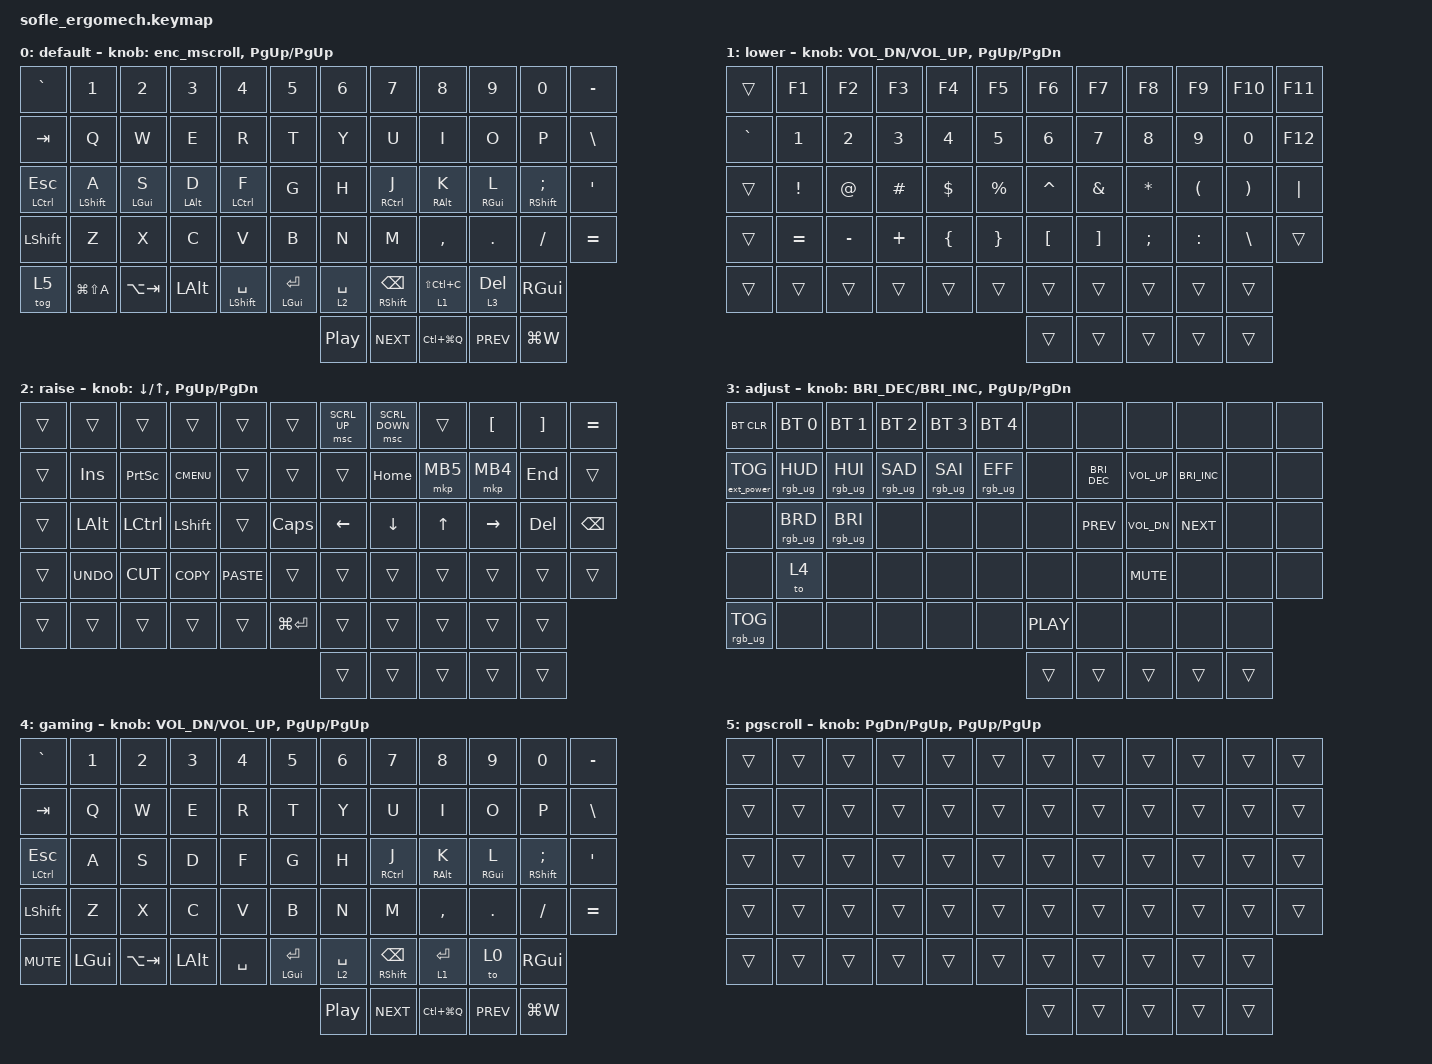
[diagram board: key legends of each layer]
/*
 * Copyright (c) 2020 The ZMK Contributors
 *
 * SPDX-License-Identifier: MIT
 */

#define ZMK_POINTING_DEFAULT_SCRL_VAL 60

#include <dt-bindings/zmk/mouse.h>
#include <behaviors.dtsi>
#include <dt-bindings/zmk/bt.h>
#include <dt-bindings/zmk/ext_power.h>
#include <dt-bindings/zmk/keys.h>
#include <dt-bindings/zmk/pointing.h>
#include <dt-bindings/zmk/rgb.h>

#define BASE 0
#define LOWER 1
#define RAISE 2
#define ADJUST 3

/ {
    behaviors {
        lh_pht: left_positional_hold_tap {
            compatible = "zmk,behavior-hold-tap";
            #binding-cells = <2>;
            flavor = "balanced";
            tapping-term-ms = <400>;                        // <---[[produces tap if held longer than tapping-term-ms]]
            quick-tap-ms = <200>;
            bindings = <&kp>, <&kp>;

            hold-trigger-key-positions = <6 7 8 9 10 11 18 19 20 21 22 23 34 35 46 47 30 31 32 33 42 43 44 45 55 56 57 58 54 55>;    // <---[[right-hand keys]]
            hold-trigger-on-release;
            require-prior-idle-ms = <150>;
        };
    };

    behaviors {
        rh_pht: right_positional_hold_tap {
            compatible = "zmk,behavior-hold-tap";
            #binding-cells = <2>;
            flavor = "balanced";
            tapping-term-ms = <400>;                        // <---[[produces tap if held longer than tapping-term-ms]]
            quick-tap-ms = <200>;
            bindings = <&kp>, <&kp>;

            hold-trigger-key-positions = <0 1 2 3 4 0 1 2 3 4 5 12 13 14 15 16 17 24 25 26 27 28 29 36 37 38 39 40 41 48 49 50 51 52 53>;    // <---[[right-hand keys]]
            hold-trigger-on-release;
            require-prior-idle-ms = <150>;
        };
    };

    behaviors {
        enc_mscroll: encoder_mouse_scroll {
            compatible = "zmk,behavior-sensor-rotate";
            #sensor-binding-cells = <0>;
            tap-ms = <50>;
            bindings = <&msc SCRL_DOWN>, <&msc SCRL_UP>;
        };
    };

    // Activate ADJUST layer by pressing raise and lower

    conditional_layers { compatible = "zmk,conditional-layers"; };

    keymap {
        compatible = "zmk,keymap";

        default_layer {
            label = "default";

            // ------------------------------------------------------------------------------------------------------------
            // |   `   |  1  |  2  |  3   |  4   |  5   |                   |  6   |  7    |  8    |  9   |   0   |       |
            // |  ESC  |  Q  |  W  |  E   |  R   |  T   |                   |  Y   |  U    |  I    |  O   |   P   | BKSPC |
            // |  TAB  |  A  |  S  |  D   |  F   |  G   |                   |  H   |  J    |  K    |  L   |   ;   |   '   |
            // | SHIFT |  Z  |  X  |  C   |  V   |  B   |  MUTE  |  |       |  N   |  M    |  ,    |  .   |   /   | SHIFT |
            //               | GUI | ALT  | CTRL | LOWER|  ENTER |  | SPACE | RAISE| CTRL  | ALT   | GUI  |

            bindings = <
&kp GRAVE      &kp N1                &kp N2              &kp N3              &kp N4                &kp N5          &kp N6            &kp N7                     &kp N8               &kp N9               &kp N0                         &kp MINUS
&kp TAB        &kp Q                 &kp W               &kp E               &kp R                 &kp T           &kp Y             &kp U                      &kp I                &kp O                &kp P                          &kp BACKSLASH
&mt LCTRL ESC  &lh_pht LEFT_SHIFT A  &lh_pht LEFT_GUI S  &lh_pht LEFT_ALT D  &lh_pht LCTRL F       &kp G           &kp H             &rh_pht RCTRL J            &rh_pht RIGHT_ALT K  &rh_pht RIGHT_GUI L  &rh_pht RIGHT_SHIFT SEMICOLON  &kp SQT
&kp LSHFT      &kp Z                 &kp X               &kp C               &kp V                 &kp B           &kp N             &kp M                      &kp COMMA            &kp DOT              &kp FSLH                       &kp EQUAL
&tog 5         &kp LG(LS(A))         &kp LA(TAB)         &kp LEFT_ALT        &mt LEFT_SHIFT SPACE  &mt LGUI ENTER  &lt 2 SPACE       &mt RIGHT_SHIFT BACKSPACE  &lt 1 LS(LC(C))      &lt 3 DELETE         &kp RGUI
                                                                                                                   &kp C_PLAY_PAUSE  &kp C_NEXT                 &kp LC(LG(Q))        &kp C_PREV           &kp LG(W)
            >;

            sensor-bindings =
                <&enc_mscroll>,
                <&inc_dec_kp PG_UP PG_UP>;
        };

        lower_layer {
            label = "lower";

            // TODO: Some binds are waiting for shifted keycode support.
            // ------------------------------------------------------------------------------------------------------------
            // |       |  F1 |  F2 |  F3  |  F4  |  F5  |                   |  F6  |  F7   |  F8   |  F9  |  F10  |  F11  |
            // |   `   |  1  |  2  |  3   |  4   |  5   |                   |  6   |  7    |  8    |  9   |   0   |  F12  |
            // |       |  !  |  @  |  #   |  $   |  %   |                   |  ^   |  &    |  *    |  (   |   )   |   |   |
            // |       |  =  |  -  |  +   |  {   |  }   |        |  |       |  [   |  ]    |  ;    |  :   |   \   |       |
            //               |     |      |      |      |        |  |       |      |       |       |      |

            bindings = <
&trans          &kp F1     &kp F2     &kp F3    &kp F4    &kp F5     &kp F6     &kp F7    &kp F8     &kp F9     &kp F10   &kp F11
&kp GRAVE       &kp N1     &kp N2     &kp N3    &kp N4    &kp N5     &kp N6     &kp N7    &kp N8     &kp N9     &kp N0    &kp F12
&trans          &kp EXCL   &kp AT     &kp HASH  &kp DLLR  &kp PRCNT  &kp CARET  &kp AMPS  &kp ASTRK  &kp LPAR   &kp RPAR  &kp PIPE
&trans          &kp EQUAL  &kp MINUS  &kp PLUS  &kp LBRC  &kp RBRC   &kp LBKT   &kp RBKT  &kp SEMI   &kp COLON  &kp BSLH  &trans
&trans          &trans     &trans     &trans    &trans    &trans     &trans     &trans    &trans     &trans     &trans
                                                                     &trans     &trans    &trans     &trans     &trans
            >;

            sensor-bindings = <&inc_dec_kp C_VOL_DN C_VOL_UP>, <&inc_dec_kp PG_UP PG_DN>;
        };

        raise_layer {
            label = "raise";

            // ------------------------------------------------------------------------------------------------------------
            // | BTCLR | BT1  | BT2  |  BT3  |  BT4  |  BT5 |                |      |      |       |      |       |       |
            // |       | INS  | PSCR | GUI   |       |      |                | PGUP |      |   ^   |      |       |       |
            // |       | ALT  | CTRL | SHIFT |       | CAPS |                | PGDN |   <- |   v   |  ->  |  DEL  | BKSPC |
            // |       | UNDO | CUT  | COPY  | PASTE |      |      |  |      |      |      |       |      |       |       |
            //                |      |       |       |      |      |  |      |      |      |       |      |

            bindings = <
&trans  &trans      &trans     &trans       &trans       &trans         &msc SCRL_UP  &msc SCRL_DOWN  &trans  &kp LEFT_BRACKET  &kp RIGHT_BRACKET  &kp EQUAL
&trans  &kp INS     &kp PSCRN  &kp K_CMENU  &trans       &trans         &trans    &kp HOME  &mkp MB5      &mkp MB4          &kp END            &trans
&trans  &kp LALT    &kp LCTRL  &kp LSHFT    &trans       &kp CLCK       &kp LEFT  &kp DOWN  &kp UP_ARROW  &kp RIGHT         &kp DEL            &kp BSPC
&trans  &kp K_UNDO  &kp K_CUT  &kp K_COPY   &kp K_PASTE  &trans         &trans    &trans    &trans        &trans            &trans             &trans
&trans  &trans      &trans     &trans       &trans       &kp LG(ENTER)  &trans    &trans    &trans        &trans            &trans
                                                                        &trans    &trans    &trans        &trans            &trans
            >;

            sensor-bindings =
                <&inc_dec_kp DOWN UP>,
                <&inc_dec_kp PG_UP PG_DN>;
        };

        adjust_layer {
            // ----------------------------------------------------------------------------------------------------------------------------
            // | BTCLR  |  BT1    |  BT2    |   BT3   |   BT4   |   BT5   |                  |      |      |       |      |       |       |
            // | EXTPWR | RGB_HUD | RGB_HUI | RGB_SAD | RGB_SAI | RGB_EFF |                  |      |      |       |      |       |       |
            // |        | RGB_BRD | RGB_BRI |         |         |         |                  |      |      |       |      |       |       |
            // |        |         |         |         |         |         | RGB_TOG | |      |      |      |       |      |       |       |
            //                    |         |         |         |         |         | |      |      |      |       |      |

            label = "adjust";
            bindings = <
&bt BT_CLR         &bt BT_SEL 0     &bt BT_SEL 1     &bt BT_SEL 2     &bt BT_SEL 3     &bt BT_SEL 4     &none       &none                 &none         &none                 &none   &none
&ext_power EP_TOG  &rgb_ug RGB_HUD  &rgb_ug RGB_HUI  &rgb_ug RGB_SAD  &rgb_ug RGB_SAI  &rgb_ug RGB_EFF  &none       &kp C_BRIGHTNESS_DEC  &kp C_VOL_UP  &kp C_BRIGHTNESS_INC  &none   &none
&none              &rgb_ug RGB_BRD  &rgb_ug RGB_BRI  &none            &none            &none            &none       &kp C_PREV            &kp C_VOL_DN  &kp C_NEXT            &none   &none
&none              &to 4            &none            &none            &none            &none            &none       &none                 &kp C_MUTE    &none                 &none   &none
&rgb_ug RGB_TOG    &none            &none            &none            &none            &none            &kp C_PLAY  &none                 &none         &none                 &none
                                                                                                        &trans      &trans                &trans        &trans                &trans
            >;

            sensor-bindings =
                <&inc_dec_kp C_BRIGHTNESS_DEC C_BRIGHTNESS_INC>,
                <&inc_dec_kp PG_UP PG_DN>;
        };

        gaming {
            label = "gaming";
            bindings = <
&kp GRAVE      &kp N1    &kp N2       &kp N3        &kp N4     &kp N5          &kp N6            &kp N7                     &kp N8               &kp N9               &kp N0                         &kp MINUS
&kp TAB        &kp Q     &kp W        &kp E         &kp R      &kp T           &kp Y             &kp U                      &kp I                &kp O                &kp P                          &kp BACKSLASH
&mt LCTRL ESC  &kp A     &kp S        &kp D         &kp F      &kp G           &kp H             &rh_pht RCTRL J            &rh_pht RIGHT_ALT K  &rh_pht RIGHT_GUI L  &rh_pht RIGHT_SHIFT SEMICOLON  &kp SQT
&kp LSHFT      &kp Z     &kp X        &kp C         &kp V      &kp B           &kp N             &kp M                      &kp COMMA            &kp DOT              &kp FSLH                       &kp EQUAL
&kp C_MUTE     &kp LGUI  &kp LA(TAB)  &kp LEFT_ALT  &kp SPACE  &mt LGUI ENTER  &lt 2 SPACE       &mt RIGHT_SHIFT BACKSPACE  &lt 1 ENTER          &to 0                &kp RGUI
                                                                               &kp C_PLAY_PAUSE  &kp C_NEXT                 &kp LC(LG(Q))        &kp C_PREV           &kp LG(W)
            >;

            sensor-bindings =
                <&inc_dec_kp C_VOL_DN C_VOL_UP>,
                <&inc_dec_kp PG_UP PG_UP>;
        };

        page_scroll {
            label = "pgscroll";
            bindings = <
&trans  &trans  &trans  &trans  &trans  &trans  &trans  &trans  &trans  &trans  &trans  &trans
&trans  &trans  &trans  &trans  &trans  &trans  &trans  &trans  &trans  &trans  &trans  &trans
&trans  &trans  &trans  &trans  &trans  &trans  &trans  &trans  &trans  &trans  &trans  &trans
&trans  &trans  &trans  &trans  &trans  &trans  &trans  &trans  &trans  &trans  &trans  &trans
&trans  &trans  &trans  &trans  &trans  &trans  &trans  &trans  &trans  &trans  &trans
                                                        &trans  &trans  &trans  &trans  &trans
            >;

            sensor-bindings =
                <&inc_dec_kp PG_DN PG_UP>,
                <&inc_dec_kp PG_UP PG_UP>;
        };
    };
};
